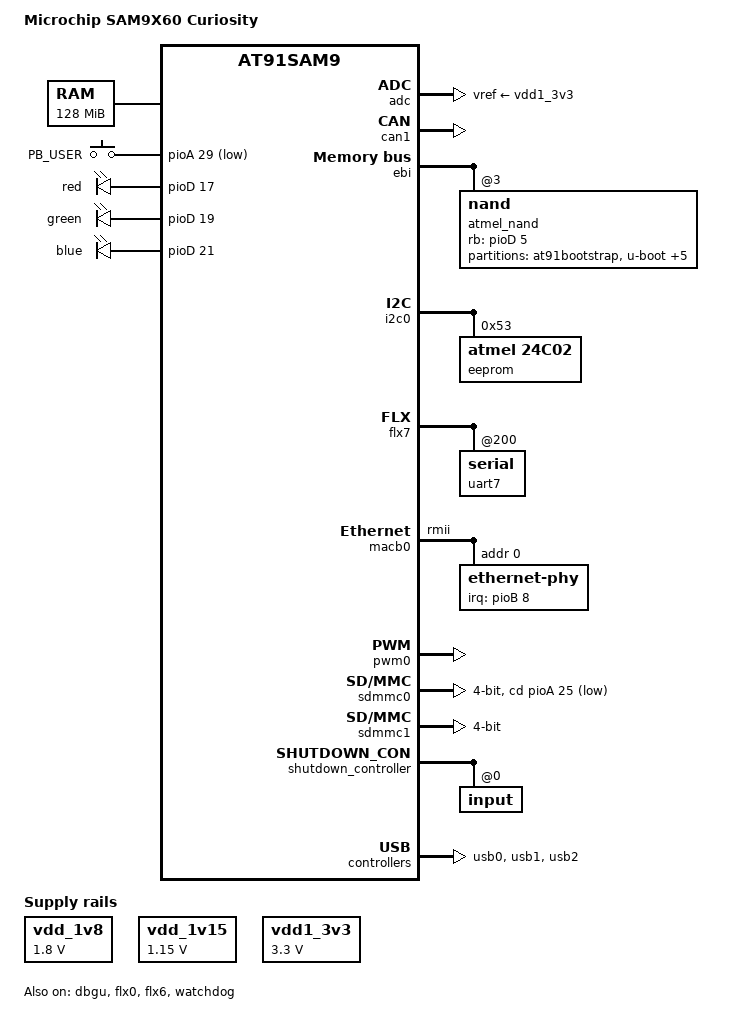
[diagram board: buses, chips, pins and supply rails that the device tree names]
// SPDX-License-Identifier: (GPL-2.0+ OR MIT)
/*
 * at91-sam9x60_curiosity.dts - Device Tree file for Microchip SAM9X60 Curiosity board
 *
 * Copyright (C) 2022 Microchip Technology Inc. and its subsidiaries
 *
 * Author: Durai Manickam KR <durai.manickamkr@microchip.com>
 */
/dts-v1/;
#include "sam9x60.dtsi"
#include <dt-bindings/input/input.h>

/ {
	model = "Microchip SAM9X60 Curiosity";
	compatible = "microchip,sam9x60-curiosity", "microchip,sam9x60", "atmel,at91sam9";

	aliases {
		i2c0 = &i2c0;
		i2c1 = &i2c6;
		serial2 = &uart7;
	};

	chosen {
		stdout-path = "serial0:115200n8";
	};

	memory@20000000 {
		reg = <0x20000000 0x8000000>;
	};

	clocks {
		slow_xtal {
			clock-frequency = <32768>;
		};

		main_xtal {
			clock-frequency = <24000000>;
		};
	};

	gpio-keys {
		compatible = "gpio-keys";
		pinctrl-names = "default";
		pinctrl-0 = <&pinctrl_key_gpio_default>;

		button-user {
			label = "PB_USER";
			gpios = <&pioA 29 GPIO_ACTIVE_LOW>;
			linux,code = <KEY_PROG1>;
			wakeup-source;
		};
	};

	leds {
		compatible = "gpio-leds";
		pinctrl-names = "default";
		pinctrl-0 = <&pinctrl_gpio_leds>;

		led-red {
			label = "red";
			gpios = <&pioD 17 GPIO_ACTIVE_HIGH>;
		};

		led-green {
			label = "green";
			gpios = <&pioD 19 GPIO_ACTIVE_HIGH>;
		};

		led-blue {
			label = "blue";
			gpios = <&pioD 21 GPIO_ACTIVE_HIGH>;
			linux,default-trigger = "heartbeat";
		};
	};


	vdd_1v8: regulator-0 {
		compatible = "regulator-fixed";
		regulator-always-on;
		regulator-max-microvolt = <1800000>;
		regulator-min-microvolt = <1800000>;
		regulator-name = "VDD_1V8";
	};

	vdd_1v15: regulator-1 {
		compatible = "regulator-fixed";
		regulator-always-on;
		regulator-max-microvolt = <1150000>;
		regulator-min-microvolt = <1150000>;
		regulator-name = "VDD_1V15";
	};

	vdd1_3v3: regulator-2 {
		compatible = "regulator-fixed";
		regulator-always-on;
		regulator-max-microvolt = <3300000>;
		regulator-min-microvolt = <3300000>;
		regulator-name = "VDD1_3V3";
	};
};

&adc {
	vddana-supply = <&vdd1_3v3>;
	vref-supply = <&vdd1_3v3>;
	pinctrl-names = "default";
	pinctrl-0 = <&pinctrl_adc_default &pinctrl_adtrg_default>;
	status = "okay";
};

&can0 {
	pinctrl-names = "default";
	pinctrl-0 = <&pinctrl_can0_rx_tx>;
	status = "disabled"; /* Conflict with dbgu. */
};

&can1 {
	pinctrl-names = "default";
	pinctrl-0 = <&pinctrl_can1_rx_tx>;
	status = "okay";
};

&dbgu {
	pinctrl-names = "default";
	pinctrl-0 = <&pinctrl_dbgu>;
	status = "okay"; /* Conflict with can0. */
};

&ebi {
	pinctrl-names = "default";
	pinctrl-0 = <&pinctrl_ebi_addr_nand &pinctrl_ebi_data_lsb>;
	status = "okay";

	nand_controller: nand-controller {
		pinctrl-names = "default";
		pinctrl-0 = <&pinctrl_nand_oe_we &pinctrl_nand_cs &pinctrl_nand_rb>;
		status = "okay";

		nand@3 {
			reg = <0x3 0x0 0x800000>;
			rb-gpios = <&pioD 5 GPIO_ACTIVE_HIGH>;
			cs-gpios = <&pioD 4 GPIO_ACTIVE_HIGH>;
			nand-bus-width = <8>;
			nand-ecc-mode = "hw";
			nand-ecc-strength = <8>;
			nand-ecc-step-size = <512>;
			nand-on-flash-bbt;
			label = "atmel_nand";

			partitions {
				compatible = "fixed-partitions";
				#address-cells = <1>;
				#size-cells = <1>;

				at91bootstrap@0 {
					label = "at91bootstrap";
					reg = <0x0 0x40000>;
				};

				uboot@40000 {
					label = "u-boot";
					reg = <0x40000 0xc0000>;
				};

				ubootenvred@100000 {
					label = "U-Boot Env Redundant";
					reg = <0x100000 0x40000>;
				};

				ubootenv@140000 {
					label = "U-Boot Env";
					reg = <0x140000 0x40000>;
				};

				dtb@180000 {
					label = "device tree";
					reg = <0x180000 0x80000>;
				};

				kernel@200000 {
					label = "kernel";
					reg = <0x200000 0x600000>;
				};

				rootfs@800000 {
					label = "rootfs";
					reg = <0x800000 0x1f800000>;
				};
			};
		};
	};
};

&flx0 {
	atmel,flexcom-mode = <ATMEL_FLEXCOM_MODE_TWI>;
	status = "okay";

	i2c0: i2c@600 {
		dmas = <0>, <0>;
		pinctrl-names = "default";
		pinctrl-0 = <&pinctrl_flx0_default>;
		i2c-analog-filter;
		i2c-digital-filter;
		i2c-digital-filter-width-ns = <35>;
		status = "okay";

		eeprom@53 {
			compatible = "atmel,24c02";
			reg = <0x53>;
			pagesize = <16>;
		};
	};
};

&flx6 {
	atmel,flexcom-mode = <ATMEL_FLEXCOM_MODE_TWI>;
	status = "okay";

	i2c6: i2c@600 {
		dmas = <0>, <0>;
		pinctrl-names = "default";
		pinctrl-0 = <&pinctrl_flx6_default>;
		i2c-analog-filter;
		i2c-digital-filter;
		i2c-digital-filter-width-ns = <35>;
		status = "disabled";
	};
};

&flx7 {
	atmel,flexcom-mode = <ATMEL_FLEXCOM_MODE_USART>;
	status = "okay";

	uart7: serial@200 {
		pinctrl-names = "default";
		pinctrl-0 = <&pinctrl_flx7_default>;
		status = "okay";
	};
};

&macb0 {
	phy-mode = "rmii";
	#address-cells = <1>;
	#size-cells = <0>;
	pinctrl-names = "default";
	pinctrl-0 = <&pinctrl_macb0_rmii>;
	status = "okay";

	ethernet-phy@0 {
		reg = <0x0>;
		interrupt-parent = <&pioB>;
		interrupts = <8 IRQ_TYPE_LEVEL_LOW>;
	};
};

&pinctrl {
	adc {
		pinctrl_adc_default: adc-default {
			atmel,pins = <AT91_PIOB 14 AT91_PERIPH_A AT91_PINCTRL_NONE>;
		};

		pinctrl_adtrg_default: adtrg-default {
			atmel,pins = <AT91_PIOB 18 AT91_PERIPH_B AT91_PINCTRL_PULL_UP>;
		};
	};

	can0 {
		pinctrl_can0_rx_tx: can0-rx-tx {
			atmel,pins =
				<AT91_PIOA 9 AT91_PERIPH_B AT91_PINCTRL_NONE	/* CANRX0 */
				 AT91_PIOA 10 AT91_PERIPH_B AT91_PINCTRL_NONE	/* CANTX0 */
				 AT91_PIOC 9 AT91_PERIPH_GPIO AT91_PINCTRL_PULL_DOWN>;	/* Enable CAN Transceivers */
		};
	};

	can1 {
		pinctrl_can1_rx_tx: can1-rx-tx {
			atmel,pins =
				<AT91_PIOA 6 AT91_PERIPH_B AT91_PINCTRL_NONE	/* CANRX1 */
				 AT91_PIOA 5 AT91_PERIPH_B AT91_PINCTRL_NONE	/* CANTX1 */
				 AT91_PIOB 17 AT91_PERIPH_GPIO AT91_PINCTRL_PULL_DOWN>;	/* Enable CAN Transceivers */
		};
	};

	dbgu {
		pinctrl_dbgu: dbgu-0 {
			atmel,pins = <AT91_PIOA 9 AT91_PERIPH_A AT91_PINCTRL_PULL_UP
				      AT91_PIOA 10 AT91_PERIPH_A AT91_PINCTRL_NONE>;
		};
	};

	ebi {
		pinctrl_ebi_data_lsb: ebi-data-lsb {
			atmel,pins =
				<AT91_PIOD 6 AT91_PERIPH_A (AT91_PINCTRL_NONE | AT91_PINCTRL_SLEWRATE_DIS)
				 AT91_PIOD 7 AT91_PERIPH_A (AT91_PINCTRL_NONE | AT91_PINCTRL_SLEWRATE_DIS)
				 AT91_PIOD 8 AT91_PERIPH_A (AT91_PINCTRL_NONE | AT91_PINCTRL_SLEWRATE_DIS)
				 AT91_PIOD 9 AT91_PERIPH_A (AT91_PINCTRL_NONE | AT91_PINCTRL_SLEWRATE_DIS)
				 AT91_PIOD 10 AT91_PERIPH_A (AT91_PINCTRL_NONE | AT91_PINCTRL_SLEWRATE_DIS)
				 AT91_PIOD 11 AT91_PERIPH_A (AT91_PINCTRL_NONE | AT91_PINCTRL_SLEWRATE_DIS)
				 AT91_PIOD 12 AT91_PERIPH_A (AT91_PINCTRL_NONE | AT91_PINCTRL_SLEWRATE_DIS)
				 AT91_PIOD 13 AT91_PERIPH_A (AT91_PINCTRL_NONE | AT91_PINCTRL_SLEWRATE_DIS)>;
		};

		pinctrl_ebi_addr_nand: ebi-addr-nand {
			atmel,pins =
				<AT91_PIOD 2 AT91_PERIPH_A (AT91_PINCTRL_NONE | AT91_PINCTRL_SLEWRATE_DIS)
				 AT91_PIOD 3 AT91_PERIPH_A (AT91_PINCTRL_NONE | AT91_PINCTRL_SLEWRATE_DIS)>;
		};
	};

	flexcom {
		pinctrl_flx0_default: flx0-twi {
			atmel,pins =
				<AT91_PIOA 0 AT91_PERIPH_A AT91_PINCTRL_PULL_UP
				 AT91_PIOA 1 AT91_PERIPH_A AT91_PINCTRL_PULL_UP>;
		};

		pinctrl_flx6_default: flx6-twi {
			atmel,pins =
				<AT91_PIOA 30 AT91_PERIPH_A AT91_PINCTRL_PULL_UP
				 AT91_PIOA 31 AT91_PERIPH_A AT91_PINCTRL_PULL_UP>;
		};

		pinctrl_flx7_default: flx7-usart {
			atmel,pins =
				<AT91_PIOC 0 AT91_PERIPH_C AT91_PINCTRL_NONE
				 AT91_PIOC 1 AT91_PERIPH_C AT91_PINCTRL_NONE>;
		};
	};

	gpio-keys {
		pinctrl_key_gpio_default: pinctrl-key-gpio {
			atmel,pins = <AT91_PIOA 29 AT91_PERIPH_GPIO AT91_PINCTRL_NONE>;
		};
	};

	leds {
		pinctrl_gpio_leds: gpio-leds {
			atmel,pins = <AT91_PIOD 17 AT91_PERIPH_GPIO AT91_PINCTRL_NONE
				      AT91_PIOD 19 AT91_PERIPH_GPIO AT91_PINCTRL_NONE
				      AT91_PIOD 21 AT91_PERIPH_GPIO AT91_PINCTRL_NONE>;
		};
	};

	macb0 {
		pinctrl_macb0_rmii: macb0-rmii-0 {
			atmel,pins =
				<AT91_PIOB 0 AT91_PERIPH_A AT91_PINCTRL_NONE	/* PB0 periph A */
				 AT91_PIOB 1 AT91_PERIPH_A AT91_PINCTRL_NONE	/* PB1 periph A */
				 AT91_PIOB 2 AT91_PERIPH_A AT91_PINCTRL_NONE	/* PB2 periph A */
				 AT91_PIOB 3 AT91_PERIPH_A AT91_PINCTRL_NONE	/* PB3 periph A */
				 AT91_PIOB 4 AT91_PERIPH_A AT91_PINCTRL_NONE	/* PB4 periph A */
				 AT91_PIOB 5 AT91_PERIPH_A AT91_PINCTRL_NONE	/* PB5 periph A */
				 AT91_PIOB 6 AT91_PERIPH_A AT91_PINCTRL_NONE	/* PB6 periph A */
				 AT91_PIOB 7 AT91_PERIPH_A AT91_PINCTRL_NONE	/* PB7 periph A */
				 AT91_PIOB 8 AT91_PERIPH_GPIO AT91_PINCTRL_NONE	/* PB8 IRQ GPIO */
				 AT91_PIOB 9 AT91_PERIPH_A AT91_PINCTRL_NONE	/* PB9 periph A */
				 AT91_PIOB 10 AT91_PERIPH_A AT91_PINCTRL_NONE>;	/* PB10 periph A */
		};
	};

	nand {
		pinctrl_nand_oe_we: nand-oe-we-0 {
			atmel,pins =
				<AT91_PIOD 0 AT91_PERIPH_A (AT91_PINCTRL_NONE | AT91_PINCTRL_SLEWRATE_DIS)
				 AT91_PIOD 1 AT91_PERIPH_A (AT91_PINCTRL_NONE | AT91_PINCTRL_SLEWRATE_DIS)>;
		};

		pinctrl_nand_rb: nand-rb-0 {
			atmel,pins =
				<AT91_PIOD 5 AT91_PERIPH_GPIO AT91_PINCTRL_PULL_UP>;
		};

		pinctrl_nand_cs: nand-cs-0 {
			atmel,pins =
				<AT91_PIOD 4 AT91_PERIPH_GPIO AT91_PINCTRL_PULL_UP>;
		};
	};

	pwm0 {
		pinctrl_pwm0_0: pwm0-0 {
			atmel,pins = <AT91_PIOB 12 AT91_PERIPH_B AT91_PINCTRL_NONE>;
		};

		pinctrl_pwm0_1: pwm0-1 {
			atmel,pins = <AT91_PIOB 13 AT91_PERIPH_B AT91_PINCTRL_NONE>;
		};

		pinctrl_pwm0_2: pwm0-2 {
			atmel,pins = <AT91_PIOD 16 AT91_PERIPH_B AT91_PINCTRL_NONE>;
		};
	};

	sdmmc0 {
		pinctrl_sdmmc0_default: sdmmc0 {
			atmel,pins =
				<AT91_PIOA 17 AT91_PERIPH_A (AT91_PINCTRL_DRIVE_STRENGTH_HI)				/* PA17 CK  periph A with pullup */
				 AT91_PIOA 16 AT91_PERIPH_A (AT91_PINCTRL_PULL_UP | AT91_PINCTRL_DRIVE_STRENGTH_HI)	/* PA16 CMD periph A with pullup */
				 AT91_PIOA 15 AT91_PERIPH_A (AT91_PINCTRL_PULL_UP | AT91_PINCTRL_DRIVE_STRENGTH_HI)	/* PA15 DAT0 periph A */
				 AT91_PIOA 18 AT91_PERIPH_A (AT91_PINCTRL_PULL_UP | AT91_PINCTRL_DRIVE_STRENGTH_HI)	/* PA18 DAT1 periph A with pullup */
				 AT91_PIOA 19 AT91_PERIPH_A (AT91_PINCTRL_PULL_UP | AT91_PINCTRL_DRIVE_STRENGTH_HI)	/* PA19 DAT2 periph A with pullup */
				 AT91_PIOA 20 AT91_PERIPH_A (AT91_PINCTRL_PULL_UP | AT91_PINCTRL_DRIVE_STRENGTH_HI)>;	/* PA20 DAT3 periph A with pullup */
		};

		pinctrl_sdmmc0_cd: sdmmc0-cd {
			atmel,pins =
				<AT91_PIOA 25 AT91_PERIPH_GPIO AT91_PINCTRL_NONE>;
		};
	};

	sdmmc1 {
		pinctrl_sdmmc1_default: sdmmc1 {
			atmel,pins =
				<AT91_PIOA 13 AT91_PERIPH_B (AT91_PINCTRL_DRIVE_STRENGTH_HI)				/* PA13 CK periph B */
				 AT91_PIOA 12 AT91_PERIPH_B (AT91_PINCTRL_PULL_UP | AT91_PINCTRL_DRIVE_STRENGTH_HI)	/* PA12 CMD periph B with pullup */
				 AT91_PIOA 11 AT91_PERIPH_B (AT91_PINCTRL_PULL_UP | AT91_PINCTRL_DRIVE_STRENGTH_HI)	/* PA11 DAT0 periph B with pullup */
				 AT91_PIOA 2 AT91_PERIPH_B (AT91_PINCTRL_PULL_UP | AT91_PINCTRL_DRIVE_STRENGTH_HI)	/* PA2 DAT1 periph B with pullup */
				 AT91_PIOA 3 AT91_PERIPH_B (AT91_PINCTRL_PULL_UP | AT91_PINCTRL_DRIVE_STRENGTH_HI)	/* PA3 DAT2 periph B with pullup */
				 AT91_PIOA 4 AT91_PERIPH_B (AT91_PINCTRL_PULL_UP | AT91_PINCTRL_DRIVE_STRENGTH_HI)>;	/* PA4 DAT3 periph B with pullup */
		};
	};

	usb0 {
		pinctrl_usba_vbus: usba-vbus {
			atmel,pins = <AT91_PIOA 27 AT91_PERIPH_GPIO AT91_PINCTRL_NONE>;
		};
	};

	usb1 {
		pinctrl_usb_default: usb-default {
			atmel,pins = <AT91_PIOD 18 AT91_PERIPH_GPIO AT91_PINCTRL_NONE
				      AT91_PIOD 15 AT91_PERIPH_GPIO AT91_PINCTRL_NONE>;
		};
	};
}; /* pinctrl */

&pwm0 {
	pinctrl-names = "default";
	pinctrl-0 = <&pinctrl_pwm0_0 &pinctrl_pwm0_1 &pinctrl_pwm0_2>;
	status = "okay";
};

&rtt {
	atmel,rtt-rtc-time-reg = <&gpbr 0x0>;
};

&sdmmc0 {
	bus-width = <4>;
	pinctrl-names = "default";
	pinctrl-0 = <&pinctrl_sdmmc0_default &pinctrl_sdmmc0_cd>;
	cd-gpios = <&pioA 25 GPIO_ACTIVE_LOW>;
	disable-wp;
	status = "okay";
};

&sdmmc1 {
	bus-width = <4>;
	pinctrl-names = "default";
	pinctrl-0 = <&pinctrl_sdmmc1_default>;
	disable-wp;
	status = "okay";
};

&shutdown_controller {
	debounce-delay-us = <976>;
	status = "okay";

	input@0 {
		reg = <0>;
	};
};

&tcb0 {
	timer0: timer@0 {
		compatible = "atmel,tcb-timer";
		reg = <0>;
	};

	timer1: timer@1 {
		compatible = "atmel,tcb-timer";
		reg = <1>;
	};
};

&usb0 {
	atmel,vbus-gpio = <&pioA 27 GPIO_ACTIVE_HIGH>;
	pinctrl-names = "default";
	pinctrl-0 = <&pinctrl_usba_vbus>;
	status = "okay";
};

&usb1 {
	num-ports = <3>;
	atmel,vbus-gpio = <0
			   &pioD 18 GPIO_ACTIVE_HIGH
			   &pioD 15 GPIO_ACTIVE_HIGH>;
	pinctrl-names = "default";
	pinctrl-0 = <&pinctrl_usb_default>;
	status = "okay";
};

&usb2 {
	status = "okay";
};

&watchdog {
	status = "okay";
};
